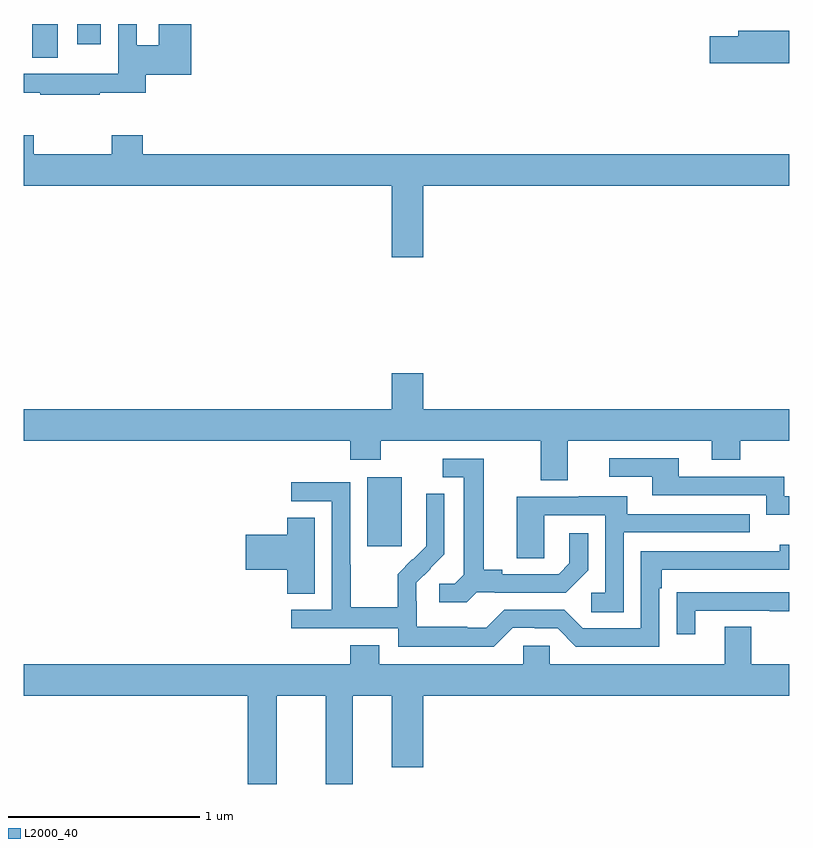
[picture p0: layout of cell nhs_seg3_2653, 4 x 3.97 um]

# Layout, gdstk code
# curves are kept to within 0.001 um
import gdstk
lib = gdstk.Library(unit=1e-6, precision=1e-09)
def R(c, l, rs):  # rectangles x0, y0, x1, y1
    for r in rs: c.add(gdstk.rectangle(r[:2], r[2:], *l))
def P(c, l, *ps):  # polygons
    for p in ps: c.add(gdstk.Polygon(p, *l))
L2000_40 = (2000, 40)

nhs_seg3_2653 = lib.new_cell('nhs_seg3_2653')
R(nhs_seg3_2653, L2000_40, [(248.795,725.673,248.974,726.034), (247.046,728.224,247.18,728.4), (247.28,728.295,247.402,728.4)])
P(nhs_seg3_2653, L2000_40, [(247.397,728.041),(247.637,728.041),(247.637,728.135),(247.877,728.135),(247.877,728.4),(247.706,728.4),(247.706,728.288),(247.59,728.288),(247.59,728.4),(247.494,728.4),(247.494,728.14),(247.284,728.14),(247.284,728.139),(247,728.139),(247,728.041),(247.087,728.041),(247.087,728.031),(247.397,728.031)],
  [(251,728.366),(250.733,728.366),(250.733,728.336),(250.584,728.336),(250.584,728.194),(251,728.194)],
  [(247,727.819),(247,727.556),(248.924,727.556),(248.924,727.182),(249.088,727.182),(249.088,727.556),(251,727.556),(251,727.72),(247.622,727.72),(247.622,727.819),(247.462,727.819),(247.462,727.72),(247.053,727.72),(247.053,727.819)],
  [(249.841,726.224),(250.595,726.224),(250.595,726.125),(250.743,726.125),(250.743,726.224),(251,726.224),(251,726.388),(249.088,726.388),(249.088,726.577),(248.924,726.577),(248.924,726.388),(247,726.388),(247,726.224),(248.705,726.224),(248.705,726.125),(248.865,726.125),(248.865,726.224),(249.701,726.224),(249.701,726.016),(249.841,726.016)],
  [(251,725.934),(250.974,725.934),(250.974,726.036),(250.423,726.036),(250.423,726.132),(250.059,726.132),(250.059,726.036),(250.283,726.036),(250.283,725.94),(250.878,725.94),(250.878,725.837),(251,725.837)],
  [(249.366,725.433),(249.46,725.433),(249.46,725.43),(249.832,725.43),(249.948,725.546),(249.948,725.74),(249.851,725.74),(249.851,725.583),(249.794,725.526),(249.499,725.526),(249.499,725.549),(249.403,725.549),(249.403,726.129),(249.189,726.129),(249.189,726.033),(249.299,726.033),(249.299,725.525),(249.252,725.478),(249.171,725.478),(249.171,725.381),(249.314,725.381)],
  [(249.555,725.247),(249.671,725.247),(249.671,725.244),(249.789,725.244),(249.885,725.148),(250.32,725.148),(250.32,725.453),(250.333,725.453),(250.333,725.55),(251,725.55),(251,725.68),(250.949,725.68),(250.949,725.646),(250.224,725.646),(250.224,725.244),(249.921,725.244),(249.825,725.34),(249.51,725.34),(249.417,725.247),(249.317,725.247),(249.317,725.251),(249.054,725.251),(249.054,725.385),(249.052,725.385),(249.052,725.482),(249.198,725.63),(249.198,725.948),(249.102,725.948),(249.102,725.794),(249.104,725.794),(249.104,725.672),(249.033,725.601),(249.03,725.604),(248.953,725.527),(248.953,725.353),(248.709,725.353),(248.709,725.576),(248.706,725.576),(248.706,726.006),(248.397,726.006),(248.397,725.907),(248.61,725.907),(248.61,725.34),(248.397,725.34),(248.397,725.244),(248.958,725.244),(248.958,725.147),(249.455,725.147)],
  [(250.134,725.745),(250.793,725.745),(250.793,725.841),(250.153,725.841),(250.153,725.935),(249.899,725.935),(249.899,725.931),(249.575,725.931),(249.575,725.611),(249.72,725.611),(249.72,725.835),(250.038,725.835),(250.038,725.43),(249.966,725.43),(249.966,725.329),(250.134,725.329)],
  [(248.521,725.822),(248.378,725.822),(248.378,725.732),(248.16,725.732),(248.16,725.549),(248.378,725.549),(248.378,725.425),(248.521,725.425)],
  [(250.507,725.337),(250.897,725.337),(250.897,725.332),(251,725.332),(251,725.433),(250.513,725.433),(250.513,725.432),(250.411,725.432),(250.411,725.214),(250.507,725.214)],
  [(248.323,724.892),(248.579,724.892),(248.579,724.431),(248.719,724.431),(248.719,724.892),(248.924,724.892),(248.924,724.518),(249.088,724.518),(249.088,724.892),(251,724.892),(251,725.056),(250.801,725.056),(250.801,725.251),(250.661,725.251),(250.661,725.056),(249.747,725.056),(249.747,725.154),(249.609,725.154),(249.609,725.056),(248.857,725.056),(248.857,725.155),(248.705,725.155),(248.705,725.056),(247,725.056),(247,724.892),(248.171,724.892),(248.171,724.431),(248.323,724.431)])

lib.write_gds('nhs_seg3_2653.gds')
